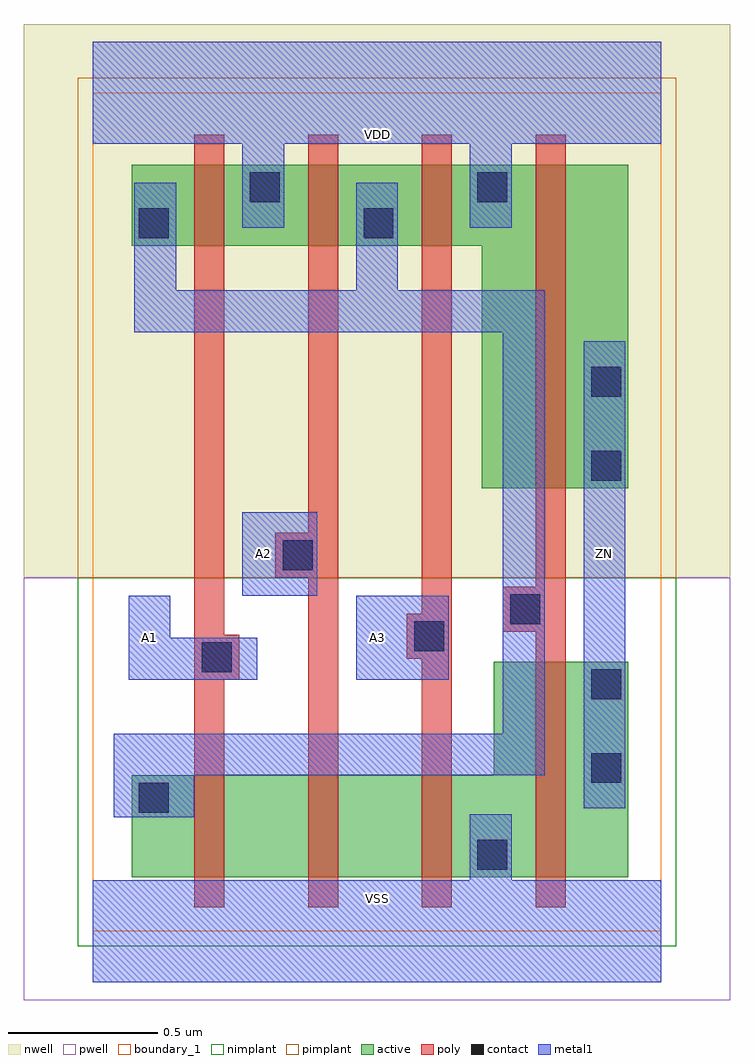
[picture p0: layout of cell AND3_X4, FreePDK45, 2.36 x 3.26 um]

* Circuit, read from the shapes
.subckt AND3_X4 A1 A2 A3 VDD VSS ZN
M1 n1 A1 n2 VSUBS nfet w=0.34u l=0.1u
M2 n3 A2 n1 VSUBS nfet w=0.34u l=0.1u
M3 VSS A3 n3 VSUBS nfet w=0.34u l=0.1u
M4 ZN n2 VSS VSUBS nfet w=0.72u l=0.1u
M5 VDD A1 n2 n4 pfet w=0.27u l=0.1u
M6 n2 A2 VDD n4 pfet w=0.27u l=0.1u
M7 VDD A3 n2 n4 pfet w=0.27u l=0.1u
M8 ZN n2 VDD n4 pfet w=1.08u l=0.1u
.ends

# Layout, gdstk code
import gdstk
lib = gdstk.Library(unit=1e-6, precision=1e-09)
def R(c, l, rs):  # rectangles x0, y0, x1, y1
    for r in rs: c.add(gdstk.rectangle(r[:2], r[2:], *l))
def P(c, l, *ps):  # polygons
    for p in ps: c.add(gdstk.Polygon(p, *l))
active = (1, 0)
pwell = (2, 0)
nwell = (3, 0)
nimplant = (4, 0)
pimplant = (5, 0)
poly = (9, 0)
contact = (10, 0)
metal1 = (11, 0)
boundary_1 = (235, 1)

and3_x4 = lib.new_cell('AND3_X4')
P(and3_x4, active, [(0.13,2.29),(1.3,2.29),(1.3,1.48),(1.79,1.48),(1.79,2.56),(0.13,2.56)],
  [(0.13,0.18),(1.79,0.18),(1.79,0.9),(1.34,0.9),(1.34,0.52),(0.13,0.52)])
R(and3_x4, pwell, [(-0.23,-0.23,2.13,1.18)])
R(and3_x4, nwell, [(-0.23,1.18,2.13,3.03)])
R(and3_x4, nimplant, [(-0.05,-0.05,1.95,1.18)])
R(and3_x4, pimplant, [(-0.05,1.18,1.95,2.85)])
P(and3_x4, poly, [(1.37,1),(1.48,1),(1.48,0.08),(1.58,0.08),(1.58,2.66),(1.48,2.66),(1.48,1.15),(1.37,1.15)],
  [(1.05,0.91),(1.1,0.91),(1.1,0.08),(1.2,0.08),(1.2,2.66),(1.1,2.66),(1.1,1.06),(1.05,1.06)],
  [(0.61,1.18),(0.72,1.18),(0.72,0.08),(0.82,0.08),(0.82,2.66),(0.72,2.66),(0.72,1.33),(0.61,1.33)],
  [(0.34,0.08),(0.44,0.08),(0.44,0.84),(0.49,0.84),(0.49,0.99),(0.44,0.99),(0.44,2.66),(0.34,2.66)])
R(and3_x4, contact, [(1.285,0.205,1.385,0.305), (0.155,0.395,0.255,0.495), (1.665,0.495,1.765,0.595), (1.665,0.775,1.765,0.875), (0.365,0.865,0.465,0.965), (1.075,0.935,1.175,1.035), (1.395,1.025,1.495,1.125), (0.635,1.205,0.735,1.305), (1.665,1.505,1.765,1.605), (1.665,1.785,1.765,1.885), (0.155,2.315,0.255,2.415), (0.905,2.315,1.005,2.415), (0.525,2.435,0.625,2.535), (1.285,2.435,1.385,2.535)])
R(and3_x4, metal1, [(1.64,0.41,1.78,1.97), (1.64,0.41,1.78,1.97), (0.88,0.84,1.19,1.12), (0.88,0.84,1.19,1.12), (0.5,1.12,0.75,1.4), (0.5,1.12,0.75,1.4)])
P(and3_x4, metal1, [(0,-0.17),(1.9,-0.17),(1.9,0.17),(1.4,0.17),(1.4,0.39),(1.26,0.39),(1.26,0.17),(0,0.17)],
  [(0.12,0.84),(0.55,0.84),(0.55,0.98),(0.26,0.98),(0.26,1.12),(0.12,1.12)],
  [(0,2.63),(0.5,2.63),(0.5,2.35),(0.64,2.35),(0.64,2.63),(1.26,2.63),(1.26,2.35),(1.4,2.35),(1.4,2.63),(1.9,2.63),(1.9,2.97),(0,2.97)],
  [(0,2.63),(0.5,2.63),(0.5,2.35),(0.64,2.35),(0.64,2.63),(1.26,2.63),(1.26,2.35),(1.4,2.35),(1.4,2.63),(1.9,2.63),(1.9,2.97),(0,2.97)],
  [(0,-0.17),(1.9,-0.17),(1.9,0.17),(1.4,0.17),(1.4,0.39),(1.26,0.39),(1.26,0.17),(0,0.17)],
  [(0.14,2),(1.37,2),(1.37,0.66),(0.07,0.66),(0.07,0.38),(0.34,0.38),(0.34,0.52),(1.51,0.52),(1.51,2.14),(1.02,2.14),(1.02,2.5),(0.88,2.5),(0.88,2.14),(0.28,2.14),(0.28,2.5),(0.14,2.5)],
  [(0.12,0.84),(0.55,0.84),(0.55,0.98),(0.26,0.98),(0.26,1.12),(0.12,1.12)])
R(and3_x4, boundary_1, [(0,0,1.9,2.8)])
and3_x4.add(gdstk.Label('ZN', (1.71,1.26), layer=11, texttype=0))
and3_x4.add(gdstk.Label('VSS', (0.95,0.11), layer=11, texttype=0))
and3_x4.add(gdstk.Label('VDD', (0.95,2.66), layer=11, texttype=0))
and3_x4.add(gdstk.Label('A3', (0.95,0.98), layer=11, texttype=0))
and3_x4.add(gdstk.Label('A2', (0.57,1.26), layer=11, texttype=0))
and3_x4.add(gdstk.Label('A1', (0.19,0.98), layer=11, texttype=0))

lib.write_gds('AND3_X4.gds')
